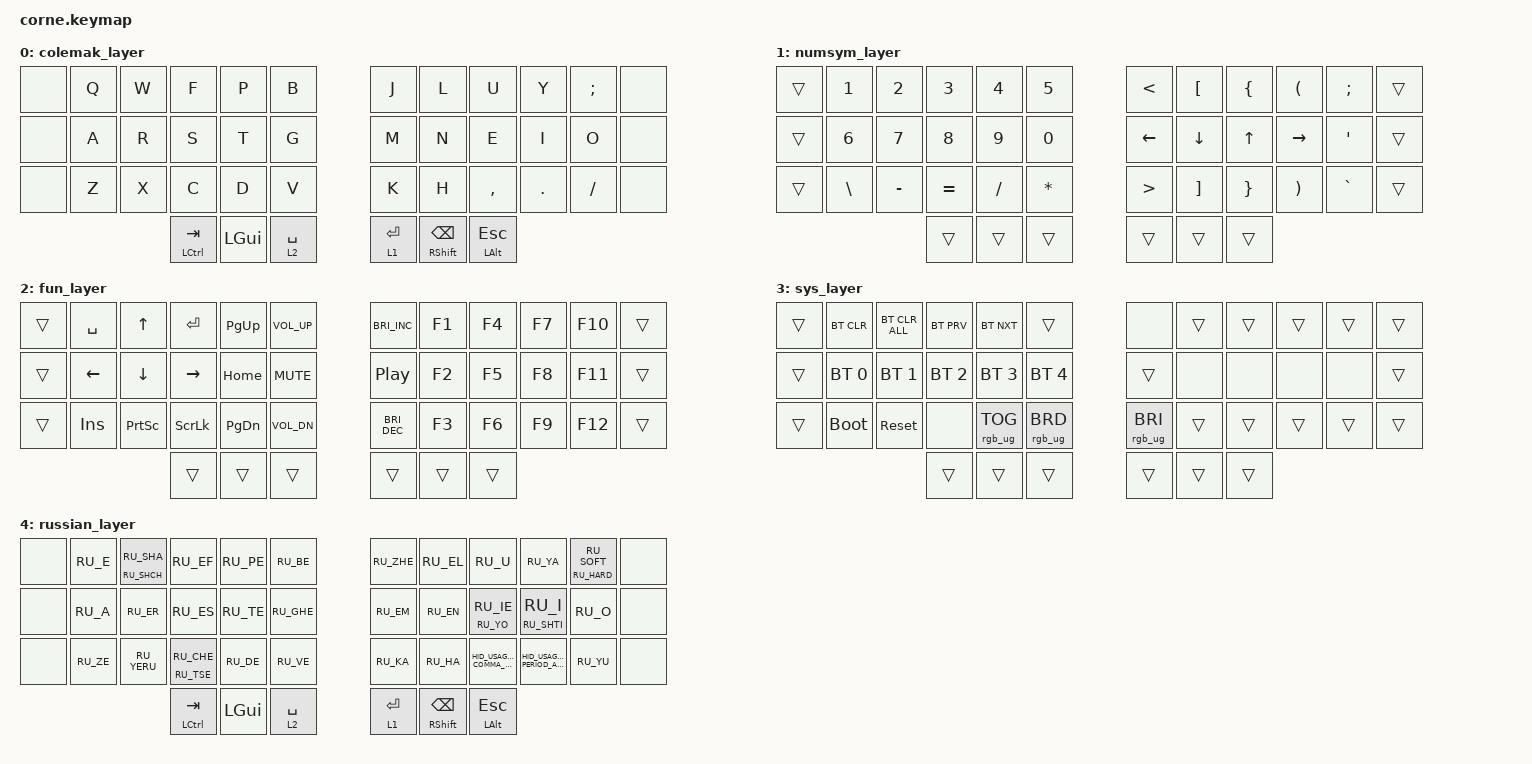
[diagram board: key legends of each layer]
#include <../boards/shields/corne/boards/nice_nano.overlay>
#include <behaviors.dtsi>
#include <dt-bindings/zmk/keys.h>
#include <dt-bindings/zmk/bt.h>
#include <dt-bindings/zmk/rgb.h>
#include <dt-bindings/zmk/ext_power.h>
#include <dt-bindings/zmk/outputs.h>
#include "keys_ru.h"


&led_strip {
    chain-length = <18>;
};

&mt {
    tapping-term-ms = <400>;
    quick-tap-ms = <175>;
    require-prior-idle-ms = <150>;
    flavor = "balanced";
};

&lt { tapping-term-ms = <400>; };

/ {
    combos {
        compatible = "zmk,combos";

        combo_esc {
            timeout-ms = <50>;
            key-positions = <1 2 3>;
            bindings = <&kp ESCAPE>;
        };

        combo_lang_switch {
            bindings = <&kp LA(LSHIFT)>;
            key-positions = <1 13>;
            timeout-ms = <50>;
        };

        combo_bksp {
            timeout-ms = <50>;
            key-positions = <10 9 8>;
            bindings = <&kp BACKSPACE>;
        };

        combo_tab {
            bindings = <&kp TAB>;
            key-positions = <13 14 15>;
        };

        combo_shift {
            bindings = <&kp LEFT_SHIFT>;
            key-positions = <25 26 27>;
        };

        combo_delete {
            bindings = <&kp DELETE>;
            key-positions = <21 22 20>;
        };

        combo_rshift {
            bindings = <&kp RIGHT_SHIFT>;
            key-positions = <33 34 32>;
        };

        exclm {
            bindings = <&kp EXCLAMATION>;
            key-positions = <1 13>;
        };

        at {
            bindings = <&kp AT_SIGN>;
            key-positions = <2 14>;
        };

        hash {
            bindings = <&kp HASH>;
            key-positions = <3 15>;
        };

        dllr {
            bindings = <&kp DOLLAR>;
            key-positions = <4 16>;
        };

        percnt {
            bindings = <&kp PERCENT>;
            key-positions = <5 17>;
        };

        caret {
            bindings = <&kp CARET>;
            key-positions = <6 18>;
        };

        and {
            bindings = <&kp AMPERSAND>;
            key-positions = <7 19>;
        };

        str {
            bindings = <&kp ASTERISK>;
            key-positions = <8 20>;
        };

        leftparen {
            bindings = <&kp LPAR>;
            key-positions = <9 21>;
        };

        rparen {
            bindings = <&kp RPAR>;
            key-positions = <10 22>;
        };

        layout_switch {
            bindings = <&tog 4>;
            key-positions = <36 37 40 41>;
        };

        system_reset {
            bindings = <&sys_reset>;
            key-positions = <3 4 5 14>;
        };

        bootloader {
            bindings = <&bootloader>;
            key-positions = <15 16 17 26>;
        };

        system_layer_combo {
            bindings = <&mo 3>;
            key-positions = <36 37 38>;
        };

        // Ctrl + A (позиции 13 + 25)
        combo_ctrl_a {
            bindings = <&kp LC(A)>;
            key-positions = <13 25>;
            timeout-ms = <50>;
        };

        // Ctrl + X (позиции 14 + 26)
        combo_ctrl_x {
            bindings = <&kp LC(X)>;
            key-positions = <14 26>;
            timeout-ms = <50>;
        };

        // Ctrl + C (позиции 15 + 27)
        combo_ctrl_c {
            bindings = <&kp LC(C)>;
            key-positions = <15 27>;
            timeout-ms = <50>;
        };

        // Ctrl + V (позиции 16 + 28)
        combo_ctrl_v {
            bindings = <&kp LC(V)>;
            key-positions = <16 28>;
            timeout-ms = <50>;
        };
    };

    conditional_layers { compatible = "zmk,conditional-layers"; };

    behaviors {
        // Кастомное поведение для двойных символов (tap = первый, hold = второй)
        ru_dual: ru_dual_behavior {
            compatible = "zmk,behavior-hold-tap";
            #binding-cells = <2>;
            tapping-term-ms = <200>;
            quick-tap-ms = <150>;
            flavor = "tap-preferred";
            bindings = <&kp>, <&kp>;
        };
    };

    keymap {
        compatible = "zmk,keymap";

        colemak_layer {
            bindings = <
&none  &kp Q  &kp W  &kp F          &kp P     &kp B          &kp J        &kp L                      &kp U             &kp Y    &kp SEMICOLON  &none
&none  &kp A  &kp R  &kp S          &kp T     &kp G          &kp M        &kp N                      &kp E             &kp I    &kp O          &none
&none  &kp Z  &kp X  &kp C          &kp D     &kp V          &kp K        &kp H                      &kp COMMA         &kp DOT  &kp FSLH       &none
                     &mt LCTRL TAB  &kp LGUI  &lt 2 SPACE    &lt 1 ENTER  &mt RIGHT_SHIFT BACKSPACE  &mt LEFT_ALT ESC
            >;
        };


        numsym_layer {
            bindings = <
&trans  &kp N1         &kp N2     &kp N3     &kp N4     &kp N5          &kp LESS_THAN     &kp LEFT_BRACKET   &kp LEFT_BRACE   &kp LEFT_PARENTHESIS   &kp SEMICOLON  &trans
&trans  &kp NUMBER_6   &kp N7     &kp N8     &kp N9     &kp NUMBER_0    &kp LEFT          &kp DOWN           &kp UP           &kp RIGHT              &kp SQT        &trans
&trans  &kp BACKSLASH  &kp MINUS  &kp EQUAL  &kp SLASH  &kp ASTERISK    &kp GREATER_THAN  &kp RIGHT_BRACKET  &kp RIGHT_BRACE  &kp RIGHT_PARENTHESIS  &kp GRAVE      &trans
                                  &trans     &trans     &trans          &trans            &trans             &trans
            >;
        };

        fun_layer {
            bindings = <
&trans  &kp SPACE  &kp UP_ARROW     &kp ENTER       &kp PAGE_UP    &kp C_VOL_UP    &kp C_BRIGHTNESS_INC  &kp F1  &kp F4  &kp F7  &kp F10  &trans
&trans  &kp LEFT   &kp DOWN         &kp RIGHT       &kp HOME       &kp C_MUTE      &kp C_PLAY_PAUSE      &kp F2  &kp F5  &kp F8  &kp F11  &trans
&trans  &kp INS    &kp PRINTSCREEN  &kp SCROLLLOCK  &kp PAGE_DOWN  &kp C_VOL_DN    &kp C_BRIGHTNESS_DEC  &kp F3  &kp F6  &kp F9  &kp F12  &trans
                                    &trans          &trans         &trans          &trans                &trans  &trans
            >;
        };

        sys_layer {
            bindings = <
&trans  &bt BT_CLR    &bt BT_CLR_ALL  &bt BT_PRV    &bt BT_NXT    &trans          &none   &trans  &trans  &trans  &trans  &trans
&trans  &bt BT_SEL 0  &bt BT_SEL 1    &bt BT_SEL 2  &bt BT_SEL 3  &bt BT_SEL 4    &trans  &none   &none   &none   &none   &trans
&trans  &bootloader   &sys_reset      &none         &rgb_ug RGB_TOG         &rgb_ug RGB_BRD          &rgb_ug RGB_BRI   &trans  &trans  &trans  &trans  &trans
                                      &trans        &trans        &trans          &trans  &trans  &trans
            >;
        };

        russian_layer {
            bindings = <
&none  &kp RU_E   &ru_dual RU_SHCH RU_SHA  &kp RU_EF               &kp RU_PE  &kp RU_BE       &kp RU_ZHE     &kp RU_EL   &kp RU_U          &kp RU_YA           &ru_dual RU_HARD RU_SOFT   &none
&none  &kp RU_A   &kp RU_ER                &kp RU_ES               &kp RU_TE  &kp RU_GHE      &kp RU_EM      &kp RU_EN   &ru_dual RU_YO RU_IE  &ru_dual RU_SHTI RU_I  &kp RU_O  &none  
&none  &kp RU_ZE  &kp RU_YERU              &ru_dual RU_TSE RU_CHE  &kp RU_DE  &kp RU_VE       &kp RU_KA      &kp RU_HA   &kp HID_USAGE_KEY_KEYBOARD_COMMA_AND_LESS_THAN  &kp HID_USAGE_KEY_KEYBOARD_PERIOD_AND_GREATER_THAN                &kp RU_YU &none
                                           &mt LCTRL TAB           &kp LGUI   &lt 2 SPACE     &lt 1 ENTER    &mt RIGHT_SHIFT BACKSPACE &mt LEFT_ALT ESC
            >;
        };
    };
};
